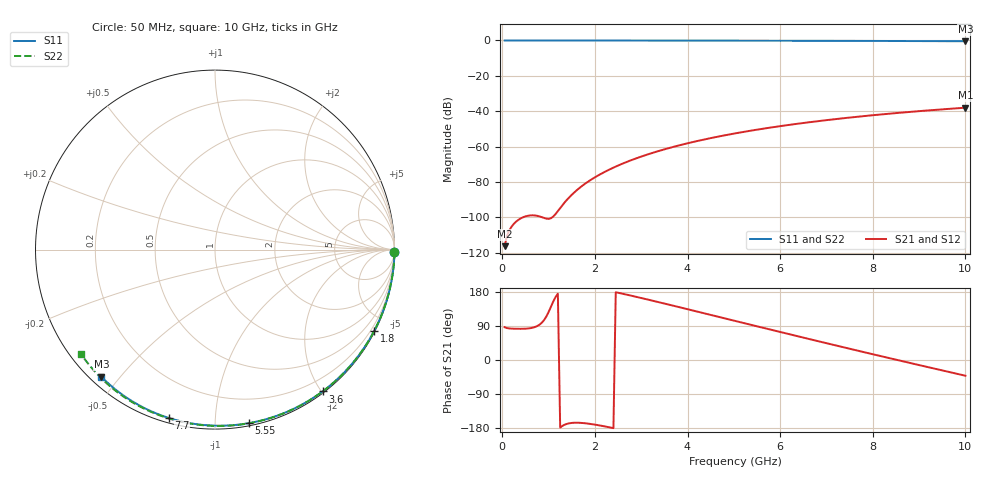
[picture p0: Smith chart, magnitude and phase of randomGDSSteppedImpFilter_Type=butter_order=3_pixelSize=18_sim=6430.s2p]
! freq	dB(S11)	phase(S11)	dB(S12)	phase(S12)
!  dB(S21)	phase(S21)	dB(S22)	phase(S22)
!S-par simulation data
#  GHz  S  DB  R 50
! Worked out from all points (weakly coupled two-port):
!   200 points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, 50 MHz to 10 GHz, reference 50 ohm
!   highest |S21| = -38.02 dB at 10 GHz (marker M1); lowest = -116.3 dB at 50 MHz (marker M2)
!   lowest |S11| = -0.4 dB at 10 GHz (marker M3), VSWR 38.95, Z = 1.54 - j22.4 ohm
!   |S11| at or under -10 dB: nowhere
!   |S22| runs from -0.5 to 0.0 dB; largest |S21 - S12| = 0
!   S11 on the Smith chart (normalised r, x): 50 MHz: open; 1.8 GHz: 0.04, -4.16; 3.6 GHz: 0.02, -2.01; 5.55 GHz: 0.02, -1.22; 7.7 GHz: 0.02, -0.76; 10 GHz: 0.03, -0.45
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0.05  -0.00 -0.8  -116.28 86.5  -116.28 86.5  -0.00 -0.8
0.45  -0.01 -6.9  -99.91 82.4  -99.91 82.4  -0.01 -7.4
0.9  -0.02 -13.6  -100.31 105.0  -100.31 105.0  -0.02 -14.7
1.75  -0.03 -26.3  -81.69 -166.4  -81.69 -166.4  -0.04 -28.3
1.8  -0.03 -27.0  -80.74 -167.1  -80.74 -167.1  -0.04 -29.1
1.85  -0.04 -27.7  -79.84 -167.8  -79.84 -167.8  -0.04 -29.9
2  -0.04 -29.9  -77.35 -170.5  -77.35 -170.5  -0.04 -32.3
2.15  -0.04 -32.1  -75.14 -173.7  -75.14 -173.7  -0.04 -34.6
2.35  -0.04 -35.0  -72.49 -178.6  -72.49 -178.6  -0.05 -37.8
2.55  -0.05 -37.9  -70.13 176.2  -70.13 176.2  -0.05 -40.9
2.95  -0.06 -43.7  -66.09 165.1  -66.09 165.1  -0.06 -47.0
3.4  -0.07 -50.0  -62.30 152.0  -62.30 152.0  -0.07 -53.9
3.6  -0.07 -52.8  -60.81 146.0  -60.81 146.0  -0.08 -56.9
4.3  -0.09 -62.4  -56.32 125.1  -56.32 125.1  -0.09 -67.1
5.05  -0.11 -72.4  -52.42 102.4  -52.42 102.4  -0.12 -77.8
5.55  -0.13 -78.9  -50.21 87.4  -50.21 87.4  -0.14 -84.8
6.1  -0.15 -85.8  -48.06 71.0  -48.06 71.0  -0.16 -92.2
6.7  -0.18 -93.3  -45.98 53.2  -45.98 53.2  -0.19 -100.2
7.7  -0.24 -105.3  -43.04 23.9  -43.04 23.9  -0.26 -113.2
8.35  -0.29 -112.9  -41.41 5.1  -41.41 5.1  -0.31 -121.4
9.2  -0.36 -122.7  -39.54 -19.0  -39.54 -19.0  -0.39 -132.0
10  -0.45 -131.8  -38.02 -41.5  -38.02 -41.5  -0.48 -142.0
